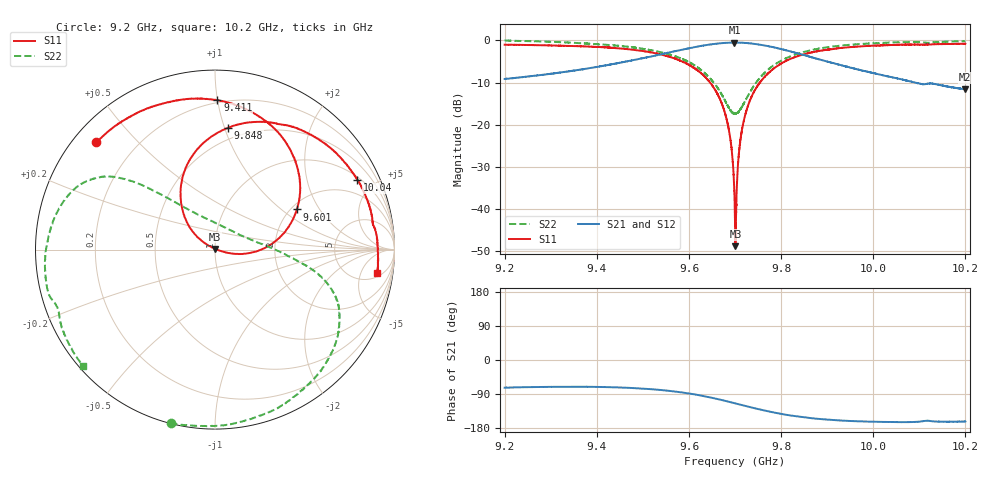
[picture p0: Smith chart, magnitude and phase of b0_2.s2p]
!Agilent Technologies,N5242A,MY51221714,A.09.90.19
!Agilent N5242A: A.09.90.19
!Date: Tuesday, March 26, 2024 16:45:13
!Correction: S11(Full 2 Port(1,2))
!S21(Full 2 Port(1,2))
!S12(Full 2 Port(1,2))
!S22(Full 2 Port(1,2))
!S2P File: Measurements: S11, S21, S12, S22:
# Hz S  dB  R 50
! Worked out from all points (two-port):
!   16001 points, 9.2 GHz to 10.2 GHz, reference 50 ohm
!   highest |S21| = -0.49 dB at 9.699 GHz (marker M1); lowest = -11.6 dB at 10.2 GHz (marker M2)
!   |S21| within 3 dB of the highest: 9.530906 GHz to 9.530976 GHz (70.12 kHz wide, 0.000736 % of centre); 9.531 GHz to 9.85 GHz (319.2 MHz wide, 3.29 % of centre)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
!   lowest |S11| = -48.8 dB at 9.701 GHz (marker M3), VSWR 1.01, Z = 50.2 + j0.323 ohm
!   |S11| at or under -10 dB: 9.646 GHz to 9.754 GHz (107.7 MHz wide, 1.11 % of centre); 9.753863 GHz to 9.753943 GHz (79.92 kHz wide, 0.000819 % of centre)
!   |S22| runs from -17.5 to 0.0 dB; largest |S21 - S12| = 0.013
!   S11 on the Smith chart (normalised r, x): 9.2 GHz: 0.07, +0.38; 9.411 GHz: 0.18, +1.00; 9.601 GHz: 2.14, +1.29; 9.848 GHz: 0.40, +1.03; 10.04 GHz: 1.14, +4.02; 10.2 GHz: 6, -10
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9.2e9  -1.01 137.9  -9.12 -73.0  -9.12 -73.8  -0.02 -104.3
9.366688e9  -1.38 100.4  -6.88 -70.7  -6.86 -71.4  -0.67 -60.1
9.41125e9  -1.59 89.1  -6.07 -71.3  -6.05 -72.0  -0.95 -49.0
9.533375e9  -3.19 52.4  -3.44 -78.5  -3.42 -79.1  -2.63 -22.8
9.6015e9  -5.90 26.2  -1.83 -88.6  -1.81 -89.3  -5.19 -11.4
9.644938e9  -9.84 6.2  -0.98 -98.5  -0.98 -99.0  -8.88 -1.8
9.673438e9  -15.58 -8.0  -0.62 -106.3  -0.62 -106.9  -13.25 13.6
9.68975e9  -23.16 -14.8  -0.51 -111.2  -0.51 -111.7  -16.51 38.2
9.698812e9  -36.78 -3.1  -0.49 -114.0  -0.48 -114.5  -17.37 60.8
9.7e9  -42.22 2.3  -0.50 -114.3  -0.49 -114.9  -17.33 63.5
9.700938e9  -48.79 62.4  -0.49 -114.6  -0.48 -115.2  -17.39 66.5
9.703938e9  -34.80 141.2  -0.51 -115.5  -0.49 -116.1  -17.19 73.7
9.708875e9  -26.39 147.8  -0.52 -117.1  -0.50 -117.7  -16.73 85.8
9.715e9  -21.29 146.4  -0.55 -118.9  -0.52 -119.5  -15.73 98.5
9.737375e9  -12.98 135.3  -0.75 -125.7  -0.73 -126.3  -11.38 123.6
9.781625e9  -6.86 112.9  -1.56 -137.8  -1.56 -138.5  -6.06 137.0
9.848438e9  -3.31 83.9  -3.43 -151.1  -3.44 -151.6  -2.76 146.1
9.866688e9  -2.83 77.1  -4.00 -153.7  -3.99 -154.2  -2.27 148.6
1.003338e10  -1.12 28.2  -8.57 -163.6  -8.55 -164.2  -0.51 -179.3
1.004225e10  -1.08 26.0  -8.76 -163.8  -8.75 -164.2  -0.46 -177.4
1.019975e10  -0.79 -8.2  -11.62 -162.4  -11.60 -163.0  -0.19 -138.6
1.02e10  -0.78 -8.3  -11.60 -162.4  -11.60 -163.1  -0.18 -138.6
